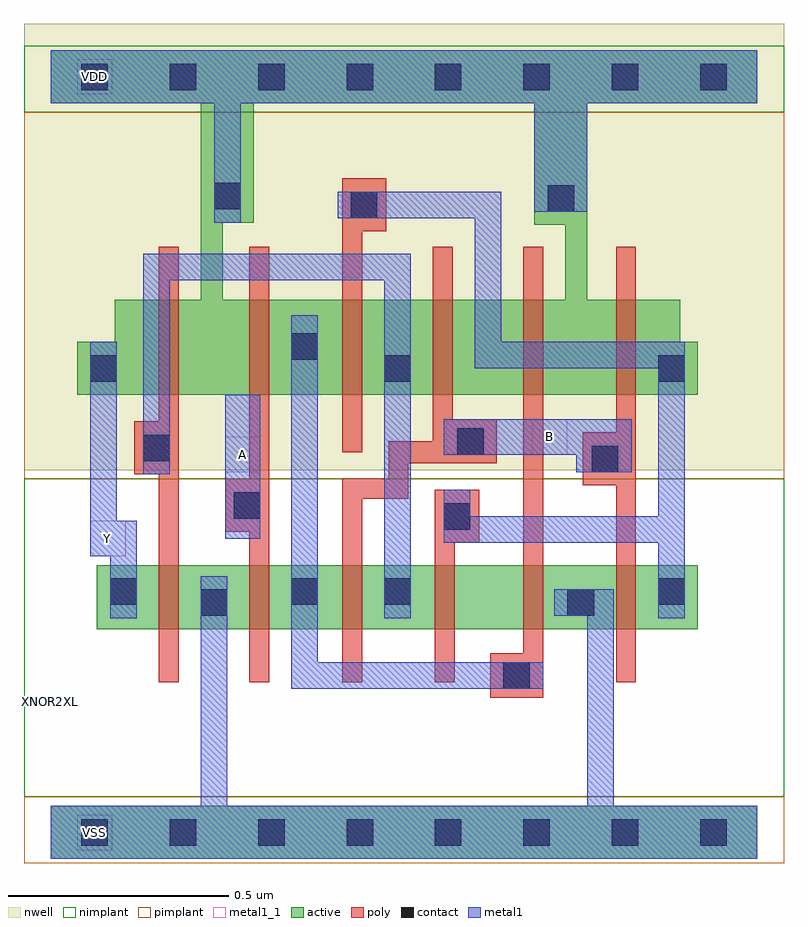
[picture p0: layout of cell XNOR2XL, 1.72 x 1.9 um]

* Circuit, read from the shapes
.subckt XNOR2XL A B VDD VSS Y
M1 VSS n1 Y VSS nfet w=0.145u l=0.045u
M2 n2 A VSS VSS nfet w=0.145u l=0.045u
M3 n1 B n2 VSS nfet w=0.145u l=0.045u
M4 n3 n4 n1 VSS nfet w=0.145u l=0.045u
M5 VSS n2 n3 VSS nfet w=0.145u l=0.045u
M6 n4 B VSS VSS nfet w=0.145u l=0.045u
M7 VDD n1 Y VDD pfet w=0.215u l=0.045u
M8 n2 A VDD VDD pfet w=0.215u l=0.045u
M9 n1 n4 n2 VDD pfet w=0.215u l=0.045u
M10 n5 B n1 VDD pfet w=0.215u l=0.045u
M11 VDD n2 n5 VDD pfet w=0.215u l=0.045u
M12 n4 B VDD VDD pfet w=0.215u l=0.045u
.ends

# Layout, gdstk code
import gdstk
lib = gdstk.Library(unit=1e-6, precision=5e-10)
def R(c, l, rs):  # rectangles x0, y0, x1, y1
    for r in rs: c.add(gdstk.rectangle(r[:2], r[2:], *l))
def A(c, l, x, y, w, h, nx, ny, dx, dy):  # array of equal rectangles
    R(c, l, [(x+i*dx, y+j*dy, x+i*dx+w, y+j*dy+h) for i in range(nx) for j in range(ny)])
def P(c, l, *ps):  # polygons
    for p in ps: c.add(gdstk.Polygon(p, *l))
active = (1, 0)
nwell = (2, 0)
poly = (3, 0)
nimplant = (4, 0)
pimplant = (5, 0)
contact = (6, 0)
metal1 = (7, 0)
metal1_1 = (7, 1)

xnor2xl = lib.new_cell('XNOR2XL')
R(xnor2xl, active, [(0,-0.06,1.6,0.06), (0.105,0.46,1.465,0.605)])
P(xnor2xl, active, [(1.6,1.77),(1.165,1.77),(1.165,1.205),(0.39,1.205),(0.39,1.38),(0.46,1.38),(0.46,1.65),(1.095,1.65),(1.095,1.375),(1.165,1.375),(1.165,1.77),(0,1.77),(0,1.65),(0.34,1.65),(0.34,1.205),(0.145,1.205),(0.145,1.11),(0.06,1.11),(0.06,0.99),(1.465,0.99),(1.465,1.11),(1.425,1.11),(1.425,1.205),(1.215,1.205),(1.215,1.65),(1.6,1.65)])
R(xnor2xl, nwell, [(-0.06,0.82,1.66,1.83)])
P(xnor2xl, poly, [(0.66,1.48),(0.76,1.48),(0.76,1.36),(0.705,1.36),(0.705,0.86),(0.66,0.86)],
  [(0.29,1.325),(0.245,1.325),(0.245,0.93),(0.19,0.93),(0.19,0.81),(0.245,0.81),(0.245,0.34),(0.29,0.34)],
  [(0.45,1.325),(0.495,1.325),(0.495,0.34),(0.45,0.34),(0.45,0.68),(0.395,0.68),(0.395,0.8),(0.45,0.8)],
  [(0.865,1.325),(0.91,1.325),(0.91,0.935),(1.01,0.935),(1.01,0.835),(0.81,0.835),(0.81,0.755),(0.705,0.755),(0.705,0.34),(0.66,0.34),(0.66,0.8),(0.765,0.8),(0.765,0.885),(0.865,0.885)],
  [(1.07,1.325),(1.115,1.325),(1.115,0.305),(0.995,0.305),(0.995,0.405),(1.07,0.405)],
  [(1.28,1.325),(1.325,1.325),(1.325,0.34),(1.28,0.34),(1.28,0.785),(1.205,0.785),(1.205,0.905),(1.28,0.905)],
  [(0.97,0.775),(0.87,0.775),(0.87,0.34),(0.915,0.34),(0.915,0.655),(0.97,0.655)])
R(xnor2xl, nimplant, [(-0.06,0.08,1.66,0.8), (-0.06,1.63,1.66,1.78)])
R(xnor2xl, pimplant, [(-0.06,-0.07,1.66,0.08), (-0.06,0.8,1.66,1.63)])
A(xnor2xl, contact, 0.07, -0.03, 0.06, 0.06, 8, 2, 0.2, 1.71)
R(xnor2xl, contact, [(1.025,0.325,1.085,0.385), (0.34,0.49,0.4,0.55), (1.17,0.49,1.23,0.55), (0.135,0.515,0.195,0.575), (0.545,0.515,0.605,0.575), (0.755,0.515,0.815,0.575), (1.375,0.515,1.435,0.575), (0.89,0.685,0.95,0.745), (0.415,0.71,0.475,0.77), (1.225,0.815,1.285,0.875), (0.21,0.84,0.27,0.9), (0.92,0.855,0.98,0.915), (0.09,1.02,0.15,1.08), (0.755,1.02,0.815,1.08), (1.375,1.02,1.435,1.08), (0.545,1.07,0.605,1.13), (0.68,1.39,0.74,1.45), (1.125,1.405,1.185,1.465), (0.37,1.41,0.43,1.47)])
R(xnor2xl, metal1, [(0.395,0.665,0.475,0.99)])
P(xnor2xl, metal1, [(1.6,1.77),(0,1.77),(0,1.65),(0.37,1.65),(0.37,1.38),(0.43,1.38),(0.43,1.65),(1.095,1.65),(1.095,1.405),(1.215,1.405),(1.215,1.65),(1.6,1.65)],
  [(1.6,0.06),(1.275,0.06),(1.275,0.55),(1.14,0.55),(1.14,0.49),(1.215,0.49),(1.215,0.06),(0.4,0.06),(0.4,0.58),(0.34,0.58),(0.34,0.06),(0,0.06),(0,-0.06),(1.6,-0.06)],
  [(1.435,1.11),(1.02,1.11),(1.02,1.45),(0.65,1.45),(0.65,1.39),(0.96,1.39),(0.96,1.05),(1.375,1.05),(1.375,0.715),(0.95,0.715),(0.95,0.775),(0.89,0.775),(0.89,0.655),(1.375,0.655),(1.375,0.485),(1.435,0.485)],
  [(1.315,0.935),(0.89,0.935),(0.89,0.855),(1.19,0.855),(1.19,0.815),(1.315,0.815)],
  [(1.115,0.385),(0.605,0.385),(0.605,1.17),(0.545,1.17),(0.545,0.325),(1.115,0.325)],
  [(0.815,1.31),(0.21,1.31),(0.21,0.81),(0.27,0.81),(0.27,1.25),(0.755,1.25),(0.755,0.485),(0.815,0.485)],
  [(0.195,0.705),(0.15,0.705),(0.15,1.11),(0.09,1.11),(0.09,0.625),(0.135,0.625),(0.135,0.485),(0.195,0.485)])
R(xnor2xl, metal1_1, [(0.06,-0.04,0.14,0.04), (0.09,0.625,0.17,0.705), (0.395,0.815,0.475,0.895), (1.09,0.855,1.17,0.935), (0.06,1.67,0.14,1.75)])
xnor2xl.add(gdstk.Label('VSS', (0.1,0), layer=7, texttype=1))
xnor2xl.add(gdstk.Label('Y', (0.13,0.665), layer=7, texttype=1))
xnor2xl.add(gdstk.Label('B', (1.13,0.895), layer=7, texttype=1))
xnor2xl.add(gdstk.Label('A', (0.435,0.855), layer=7, texttype=1))
xnor2xl.add(gdstk.Label('VDD', (0.1,1.71), layer=7, texttype=1))
xnor2xl.add(gdstk.Label('XNOR2XL', (0,0.295), layer=63, texttype=0))

lib.write_gds('XNOR2XL.gds')
